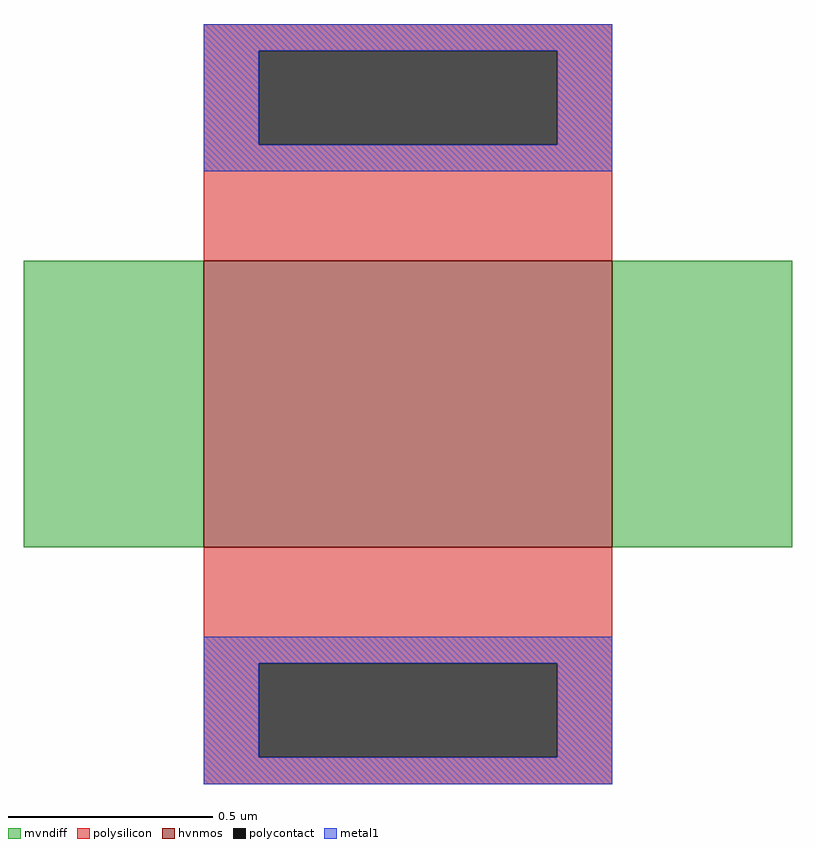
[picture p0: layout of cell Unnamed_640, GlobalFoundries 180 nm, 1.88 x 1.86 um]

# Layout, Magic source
magic
tech gf180mcuD
magscale 1 10
<< hvnmos >>
rect 14 0 214 140
<< mvndiff >>
rect -74 0 14 140
rect 214 0 302 140
<< polysilicon >>
rect 14 243 214 256
rect 14 197 41 243
rect 187 197 214 243
rect 14 140 214 197
rect 14 -57 214 0
rect 14 -103 41 -57
rect 187 -103 214 -57
rect 14 -116 214 -103
<< polycontact >>
rect 41 197 187 243
rect 41 -103 187 -57
<< metal1 >>
rect 14 243 214 256
rect 14 197 41 243
rect 187 197 214 243
rect 14 184 214 197
rect 14 -57 214 -44
rect 14 -103 41 -57
rect 187 -103 214 -57
rect 14 -116 214 -103
<< end >>
